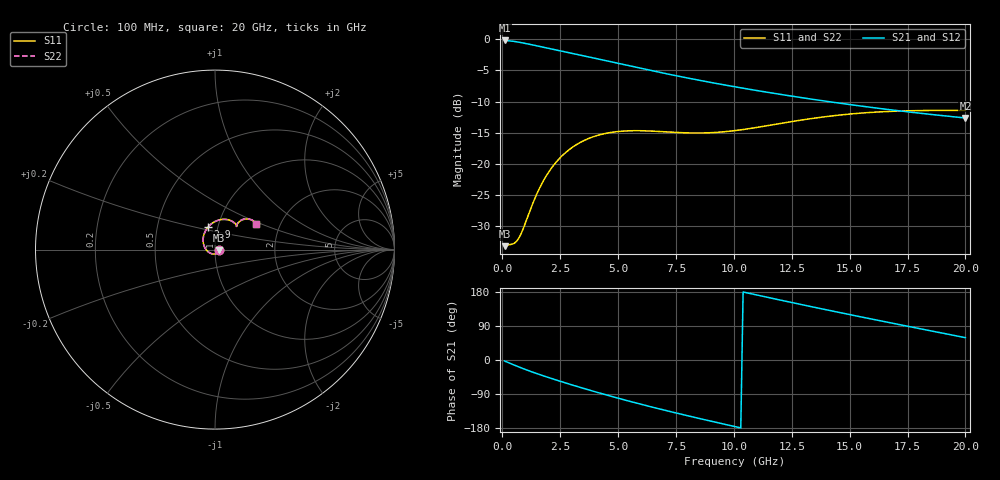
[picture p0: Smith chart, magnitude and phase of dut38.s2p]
! Touchstone file exported from HFSS 2023.1.0
!  File:  D:/Users/fzz/RDL_TSV/temp_RDL_TSV_38_1778744562.aedt
!  Generated:  3:53:41 %x4E0B%x5348  5%x6708 14, 2026
!  Design:  RDL_TSV
!  Project:  temp_RDL_TSV_38_1778744562
!  Setup:  Setup1
!  Solution:  Sweep
! Variables:
!  dtsv = 20.21um
!  hbump = 3um
!  htsv = 70.01um
!  ldown = 475.28um
!  lrdl = 678.4um
!  p = 40
!  p1 = 48.11um
!  rhole = 10um
!  subl = 4139.44um
!  t = 450um
!  tdown = 3.05um
!  trdl = 3.71um
!  viad = 10um
!  wdown = 13.21um
!  wrdl = 27.17um
!  xbump = 18um
# GHz S MA R 50.000000
! Terminal data exported
! Port[1] = TM1_1_T1
! Port[2] = TM1_4_T1
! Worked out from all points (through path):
!   200 points, 100 MHz to 20 GHz, reference 50 ohm
!   highest |S21| = -0.20 dB at 100 MHz (marker M1); lowest = -12.6 dB at 20 GHz (marker M2)
!   group delay of S21, straight-line fit = 39.9 ps
!   lowest |S11| = -33.2 dB at 100 MHz (marker M3), VSWR 1.04, Z = 52.2 - j0.45 ohm
!   |S11| at or under -10 dB: start of sweep to end of sweep
!   |S22| runs from -33.2 to -11.4 dB; largest |S21 - S12| = 1.1e-14
!   S11 on the Smith chart (normalised r, x): 100 MHz: 1.04, -0.01; 2.9 GHz: 0.90, +0.23; 20 GHz: 1.51, +0.46
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0.1  0.02196 -11.3  0.9771 -2.7  0.9771 -2.7  0.02196 -11.3
! Gamma 0 0 0 0
! Port Impedance 50 0 50 0
0.5  0.02307 -69.5  0.9603 -13.1  0.9603 -13.1  0.02307 -69.5
0.7  0.0252 -102.5  0.9476 -18.0  0.9476 -18.0  0.02519 -102.5
0.9  0.03018 -132.6  0.9329 -22.7  0.9329 -22.7  0.03016 -132.6
1.4  0.05263 175.7  0.8924 -33.9  0.8924 -33.9  0.05256 175.7
1.7  0.06915 155.9  0.868 -40.3  0.868 -40.3  0.06904 155.9
2.1  0.09143 135.9  0.8365 -48.3  0.8365 -48.3  0.09125 135.9
2.5  0.1123 120.4  0.8066 -56.1  0.8066 -56.1  0.1121 120.4
2.9  0.1308 107.8  0.7779 -63.7  0.7779 -63.7  0.1305 107.7
3.5  0.1533 92.4  0.7365 -74.8  0.7365 -74.8  0.1529 92.3
4.3  0.1731 76.5  0.6839 -88.9  0.6839 -88.9  0.1725 76.5
5.2  0.1834 63.5  0.6285 -104.1  0.6285 -104.1  0.1825 63.4
6  0.1847 55.4  0.5834 -117.0  0.5834 -117.0  0.1837 55.4
6.8  0.1821 50.2  0.5424 -129.3  0.5424 -129.3  0.181 50.3
8.3  0.1772 46.9  0.4767 -151.3  0.4767 -151.3  0.1761 47.2
10.1  0.1857 48.5  0.4139 -176.4  0.4139 -176.4  0.185 48.9
11.8  0.2081 48.8  0.3666 160.8  0.3666 160.8  0.2079 49.3
13.4  0.232 46.5  0.33 140.1  0.33 140.1  0.2322 46.9
15  0.2513 42.6  0.2995 119.8  0.2995 119.8  0.2518 42.9
16.7  0.2638 38.2  0.2728 98.8  0.2728 98.8  0.2644 38.5
18.3  0.2684 34.6  0.252 79.4  0.252 79.4  0.2692 34.9
20  0.2686 32.0  0.2339 58.9  0.2339 58.9  0.2693 32.2
